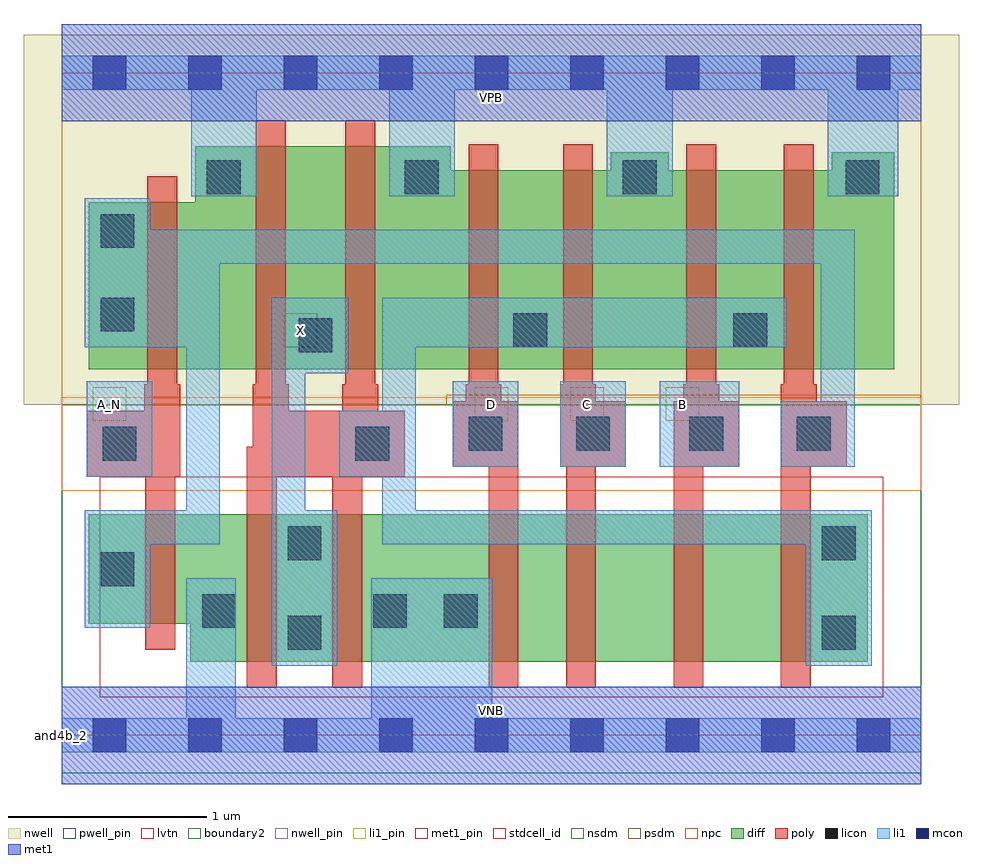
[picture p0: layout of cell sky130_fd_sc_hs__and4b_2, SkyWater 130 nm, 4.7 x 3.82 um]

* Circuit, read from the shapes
.subckt sky130_fd_sc_hs__and4b_2 A_N B C D VGND VNB VPB VPWR X
XM1 VGND A_N n1 VNB sky130_fd_pr__nfet_01v8_lvt w=0.55 l=0.15
XM2 X n2 VGND VNB sky130_fd_pr__nfet_01v8_lvt w=0.74 l=0.15 m=2
XM3 n3 D VGND VNB sky130_fd_pr__nfet_01v8_lvt w=0.74 l=0.15
XM4 n4 C n3 VNB sky130_fd_pr__nfet_01v8_lvt w=0.74 l=0.15
XM5 n5 B n4 VNB sky130_fd_pr__nfet_01v8_lvt w=0.74 l=0.15
XM6 n2 n1 n5 VNB sky130_fd_pr__nfet_01v8_lvt w=0.74 l=0.15
XM7 VPWR A_N n1 VPB sky130_fd_pr__pfet_01v8 w=0.84 l=0.15
XM8 X n2 VPWR VPB sky130_fd_pr__pfet_01v8 w=1.12 l=0.15 m=2
XM9 n2 D VPWR VPB sky130_fd_pr__pfet_01v8 w=1 l=0.15
XM10 VPWR C n2 VPB sky130_fd_pr__pfet_01v8 w=1 l=0.15
XM11 n2 B VPWR VPB sky130_fd_pr__pfet_01v8 w=1 l=0.15
XM12 VPWR n1 n2 VPB sky130_fd_pr__pfet_01v8 w=1 l=0.15
.ends

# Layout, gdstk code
import gdstk
lib = gdstk.Library(unit=1e-6, precision=1e-09)
def R(c, l, rs):  # rectangles x0, y0, x1, y1
    for r in rs: c.add(gdstk.rectangle(r[:2], r[2:], *l))
def A(c, l, x, y, w, h, nx, ny, dx, dy):  # array of equal rectangles
    R(c, l, [(x+i*dx, y+j*dy, x+i*dx+w, y+j*dy+h) for i in range(nx) for j in range(ny)])
def P(c, l, *ps):  # polygons
    for p in ps: c.add(gdstk.Polygon(p, *l))
nwell_pin = (64, 16)
nwell = (64, 20)
diff = (65, 20)
poly = (66, 20)
licon = (66, 44)
li1_pin = (67, 16)
li1 = (67, 20)
mcon = (67, 44)
met1_pin = (68, 16)
met1 = (68, 20)
stdcell_id = (81, 4)
nsdm = (93, 44)
psdm = (94, 20)
npc = (95, 20)
pwell_pin = (122, 16)
lvtn = (125, 44)
boundary2 = (236, 0)

sky130_fd_sc_hs__and4b_2 = lib.new_cell('sky130_fd_sc_hs__and4b_2')
R(sky130_fd_sc_hs__and4b_2, nwell_pin, [(0,3.085,4.32,3.33)])
R(sky130_fd_sc_hs__and4b_2, nwell, [(-0.19,1.66,4.51,3.52)])
P(sky130_fd_sc_hs__and4b_2, diff, [(4.05,1.11),(0.135,1.11),(0.135,0.56),(0.645,0.56),(0.645,0.37),(4.05,0.37)],
  [(4.185,2.93),(3.87,2.93),(3.87,2.84),(3.05,2.84),(3.05,2.93),(2.76,2.93),(2.76,2.84),(1.955,2.84),(1.955,2.96),(0.67,2.96),(0.67,2.68),(0.135,2.68),(0.135,1.84),(4.185,1.84)])
P(sky130_fd_sc_hs__and4b_2, poly, [(3.945,1.68),(3.795,1.68),(3.795,1.765),(3.78,1.765),(3.78,2.97),(3.63,2.97),(3.63,1.765),(3.615,1.765),(3.615,0.24),(3.765,0.24),(3.765,1.35),(3.945,1.35)],
  [(3.405,1.68),(3.305,1.68),(3.305,1.765),(3.29,1.765),(3.29,2.97),(3.14,2.97),(3.14,1.765),(3.125,1.765),(3.125,1.68),(3.075,1.68),(3.075,0.24),(3.225,0.24),(3.225,1.35),(3.405,1.35)],
  [(2.835,1.68),(2.685,1.68),(2.685,1.765),(2.67,1.765),(2.67,2.97),(2.52,2.97),(2.52,1.765),(2.505,1.765),(2.505,1.35),(2.535,1.35),(2.535,0.24),(2.685,0.24),(2.685,1.35),(2.835,1.35)],
  [(2.295,1.68),(2.21,1.68),(2.21,1.765),(2.195,1.765),(2.195,2.97),(2.045,2.97),(2.045,1.765),(2.03,1.765),(2.03,1.68),(1.965,1.68),(1.965,1.35),(2.145,1.35),(2.145,0.24),(2.295,0.24)],
  [(1.725,1.63),(1.59,1.63),(1.59,1.765),(1.575,1.765),(1.575,3.09),(1.425,3.09),(1.425,1.765),(1.41,1.765),(1.41,1.63),(1.14,1.63),(1.14,1.765),(1.125,1.765),(1.125,3.09),(0.975,3.09),(0.975,1.765),(0.96,1.765),(0.96,1.45),(0.93,1.45),(0.93,0.24),(1.08,0.24),(1.08,1.3),(1.36,1.3),(1.36,0.24),(1.51,0.24),(1.51,1.3),(1.725,1.3)],
  [(0.595,1.765),(0.58,1.765),(0.58,2.81),(0.43,2.81),(0.43,1.765),(0.415,1.765),(0.415,1.63),(0.125,1.63),(0.125,1.3),(0.42,1.3),(0.42,0.43),(0.57,0.43),(0.57,1.3),(0.595,1.3)])
R(sky130_fd_sc_hs__and4b_2, licon, [(1.135,0.43,1.305,0.6), (3.82,0.43,3.99,0.6), (0.705,0.54,0.875,0.71), (1.565,0.54,1.735,0.71), (1.92,0.54,2.09,0.71), (0.195,0.75,0.365,0.92), (1.135,0.88,1.305,1.05), (3.82,0.88,3.99,1.05), (0.205,1.38,0.375,1.55), (1.475,1.38,1.645,1.55), (2.045,1.43,2.215,1.6), (2.585,1.43,2.755,1.6), (3.155,1.43,3.325,1.6), (3.695,1.43,3.865,1.6), (1.19,1.925,1.36,2.095), (2.27,1.95,2.44,2.12), (3.375,1.95,3.545,2.12), (0.195,2.03,0.365,2.2), (0.195,2.45,0.365,2.62), (0.73,2.72,0.9,2.89), (1.725,2.72,1.895,2.89), (2.82,2.72,2.99,2.89), (3.94,2.72,4.11,2.89)])
A(sky130_fd_sc_hs__and4b_2, li1_pin, 2.075, 1.58, 0.17, 0.17, 3, 1, 0.48, 0)
R(sky130_fd_sc_hs__and4b_2, li1_pin, [(0.155,1.58,0.325,1.75), (1.115,1.95,1.285,2.12)])
R(sky130_fd_sc_hs__and4b_2, li1, [(0.125,1.3,0.455,1.78), (1.965,1.35,2.295,1.78), (2.505,1.35,2.835,1.78), (3.005,1.35,3.405,1.78)])
P(sky130_fd_sc_hs__and4b_2, li1, [(0.65,2.71),(0.65,3.245),(0,3.245),(0,3.415),(4.32,3.415),(4.32,3.245),(4.205,3.245),(4.205,2.71),(3.85,2.71),(3.85,3.245),(3.07,3.245),(3.07,2.71),(2.74,2.71),(2.74,3.245),(1.975,3.245),(1.975,2.71),(1.645,2.71),(1.645,3.245),(0.98,3.245),(0.98,2.71)],
  [(0.625,0.085),(0.625,0.79),(0.875,0.79),(0.875,0.085),(1.555,0.085),(1.555,0.79),(2.165,0.79),(2.165,0.085),(4.32,0.085),(4.32,-0.085),(0,-0.085),(0,0.085)],
  [(1.055,2.2),(1.44,2.2),(1.44,1.82),(1.225,1.82),(1.225,1.13),(1.385,1.13),(1.385,0.35),(1.055,0.35)],
  [(0.445,2.54),(3.985,2.54),(3.985,1.35),(3.615,1.35),(3.615,1.68),(3.815,1.68),(3.815,2.37),(0.795,2.37),(0.795,0.96),(0.445,0.96),(0.445,0.54),(0.115,0.54),(0.115,1.13),(0.625,1.13),(0.625,1.95),(0.115,1.95),(0.115,2.7),(0.445,2.7)],
  [(1.61,0.96),(1.61,1.3),(1.395,1.3),(1.395,1.63),(1.61,1.63),(1.61,2.2),(3.645,2.2),(3.645,1.95),(1.78,1.95),(1.78,1.13),(4.07,1.13),(4.07,0.35),(3.74,0.35),(3.74,0.96)])
A(sky130_fd_sc_hs__and4b_2, mcon, 0.155, -0.085, 0.17, 0.17, 9, 2, 0.48, 3.33)
R(sky130_fd_sc_hs__and4b_2, met1_pin, [(0,0,4.32,0.245), (0,3.085,4.32,3.33)])
R(sky130_fd_sc_hs__and4b_2, met1, [(0,-0.245,4.32,0.245), (0,3.085,4.32,3.575)])
R(sky130_fd_sc_hs__and4b_2, stdcell_id, [(0,0,4.32,3.33)])
R(sky130_fd_sc_hs__and4b_2, nsdm, [(0,-0.19,4.32,1.66)])
P(sky130_fd_sc_hs__and4b_2, psdm, [(4.32,3.52),(0,3.52),(0,1.66),(1.935,1.66),(1.935,1.71),(4.32,1.71)])
R(sky130_fd_sc_hs__and4b_2, npc, [(0,1.23,4.32,1.7)])
R(sky130_fd_sc_hs__and4b_2, pwell_pin, [(0,0,4.32,0.245)])
R(sky130_fd_sc_hs__and4b_2, lvtn, [(0.19,0.19,4.13,1.3)])
R(sky130_fd_sc_hs__and4b_2, boundary2, [(0,0,4.32,3.33)])
sky130_fd_sc_hs__and4b_2.add(gdstk.Label('and4b_2', (0,0), layer=83, texttype=44))
sky130_fd_sc_hs__and4b_2.add(gdstk.Label('VNB', (2.16,0.123), layer=64, texttype=59))
sky130_fd_sc_hs__and4b_2.add(gdstk.Label('VPB', (2.16,3.208), layer=64, texttype=5))
sky130_fd_sc_hs__and4b_2.add(gdstk.Label('VPWR', (2.16,3.208), layer=68, texttype=5))
sky130_fd_sc_hs__and4b_2.add(gdstk.Label('VGND', (2.16,0.123), layer=68, texttype=5))
sky130_fd_sc_hs__and4b_2.add(gdstk.Label('X', (1.2,2.035), layer=67, texttype=5))
sky130_fd_sc_hs__and4b_2.add(gdstk.Label('A_N', (0.24,1.665), layer=67, texttype=5))
sky130_fd_sc_hs__and4b_2.add(gdstk.Label('D', (2.16,1.665), layer=67, texttype=5))
sky130_fd_sc_hs__and4b_2.add(gdstk.Label('C', (2.64,1.665), layer=67, texttype=5))
sky130_fd_sc_hs__and4b_2.add(gdstk.Label('B', (3.12,1.665), layer=67, texttype=5))

lib.write_gds('sky130_fd_sc_hs__and4b_2.gds')
